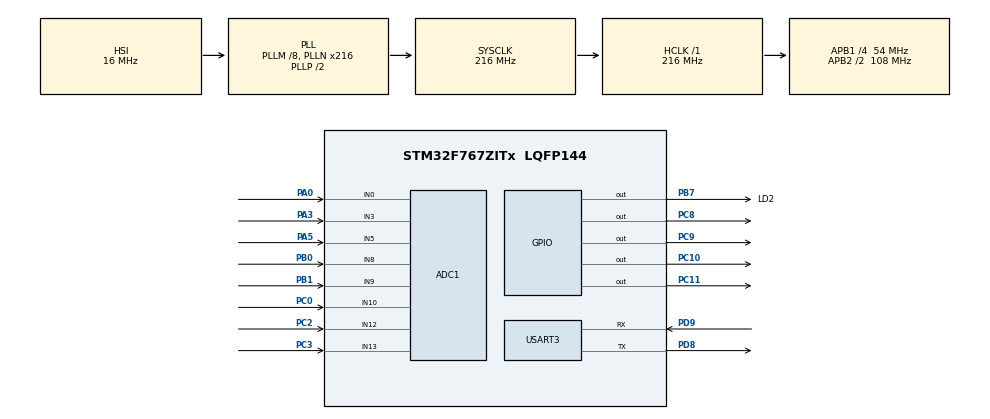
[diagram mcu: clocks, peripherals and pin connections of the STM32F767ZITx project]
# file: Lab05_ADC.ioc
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ADC1.Channel-0\#ChannelRegularConversion=ADC_CHANNEL_0
ADC1.Channel-1\#ChannelRegularConversion=ADC_CHANNEL_8
ADC1.Channel-2\#ChannelRegularConversion=ADC_CHANNEL_10
ADC1.Channel-3\#ChannelRegularConversion=ADC_CHANNEL_13
ADC1.Channel-4\#ChannelRegularConversion=ADC_CHANNEL_3
ADC1.Channel-5\#ChannelRegularConversion=ADC_CHANNEL_5
ADC1.Channel-6\#ChannelRegularConversion=ADC_CHANNEL_9
ADC1.Channel-7\#ChannelRegularConversion=ADC_CHANNEL_12
ADC1.ClockPrescaler=ADC_CLOCK_SYNC_PCLK_DIV8
ADC1.ContinuousConvMode=ENABLE
ADC1.DMAContinuousRequests=ENABLE
ADC1.InjNumberOfConversion=0
ADC1.NbrOfConversion=8
ADC1.NbrOfConversionFlag=1
ADC1.Rank-0\#ChannelRegularConversion=1
ADC1.Rank-1\#ChannelRegularConversion=2
ADC1.Rank-2\#ChannelRegularConversion=3
ADC1.Rank-3\#ChannelRegularConversion=4
ADC1.Rank-4\#ChannelRegularConversion=5
ADC1.Rank-5\#ChannelRegularConversion=6
ADC1.Rank-6\#ChannelRegularConversion=7
ADC1.Rank-7\#ChannelRegularConversion=8
ADC1.SamplingTime-0\#ChannelRegularConversion=ADC_SAMPLETIME_480CYCLES
ADC1.SamplingTime-1\#ChannelRegularConversion=ADC_SAMPLETIME_480CYCLES
ADC1.SamplingTime-2\#ChannelRegularConversion=ADC_SAMPLETIME_480CYCLES
ADC1.SamplingTime-3\#ChannelRegularConversion=ADC_SAMPLETIME_480CYCLES
ADC1.SamplingTime-4\#ChannelRegularConversion=ADC_SAMPLETIME_480CYCLES
ADC1.SamplingTime-5\#ChannelRegularConversion=ADC_SAMPLETIME_480CYCLES
ADC1.SamplingTime-6\#ChannelRegularConversion=ADC_SAMPLETIME_480CYCLES
ADC1.SamplingTime-7\#ChannelRegularConversion=ADC_SAMPLETIME_480CYCLES
ADC1.ScanConvMode=ADC_SCAN_ENABLE
ADC1.master=1
Dma.ADC1.0.Direction=DMA_PERIPH_TO_MEMORY
Dma.ADC1.0.FIFOMode=DMA_FIFOMODE_DISABLE
Dma.ADC1.0.Instance=DMA2_Stream0
Dma.ADC1.0.MemDataAlignment=DMA_MDATAALIGN_WORD
Dma.ADC1.0.MemInc=DMA_MINC_ENABLE
Dma.ADC1.0.Mode=DMA_CIRCULAR
Dma.ADC1.0.PeriphDataAlignment=DMA_PDATAALIGN_WORD
Dma.ADC1.0.PeriphInc=DMA_PINC_DISABLE
Dma.ADC1.0.Priority=DMA_PRIORITY_LOW
Dma.Request0=ADC1
Mcu.Family=STM32F7
Mcu.Name=STM32F767ZITx
Mcu.Package=LQFP144
NVIC.DMA2_Stream0_IRQn=true\:2\:0\:true\:false\:true\:false\:true
NVIC.PriorityGroup=NVIC_PRIORITYGROUP_2
PA0/WKUP.Signal=ADCx_IN0
PA3.Signal=ADCx_IN3
PA5.Signal=ADCx_IN5
PB0.Signal=ADCx_IN8
PB1.Signal=ADCx_IN9
PB7.GPIO_Label=LD2
PB7.Signal=GPIO_Output
PC0.Signal=ADCx_IN10
PC10.GPIO_ModeDefaultOutputPP=GPIO_MODE_OUTPUT_OD
PC10.PinState=GPIO_PIN_SET
PC10.Signal=GPIO_Output
PC11.GPIO_ModeDefaultOutputPP=GPIO_MODE_OUTPUT_OD
PC11.PinState=GPIO_PIN_SET
PC11.Signal=GPIO_Output
PC2.Signal=ADCx_IN12
PC3.Signal=ADCx_IN13
PC8.GPIO_ModeDefaultOutputPP=GPIO_MODE_OUTPUT_OD
PC8.PinState=GPIO_PIN_SET
PC8.Signal=GPIO_Output
PC9.GPIO_ModeDefaultOutputPP=GPIO_MODE_OUTPUT_OD
PC9.PinState=GPIO_PIN_SET
PC9.Signal=GPIO_Output
PD8.Mode=Asynchronous
PD8.Signal=USART3_TX
PD9.Mode=Asynchronous
PD9.Signal=USART3_RX
ProjectManager.HeapSize=0x200
ProjectManager.StackSize=0x400
ProjectManager.TargetToolchain=MDK-ARM V5.27
RCC.AHBFreq_Value=216000000
RCC.APB1CLKDivider=RCC_HCLK_DIV4
RCC.APB1Freq_Value=54000000
RCC.APB1TimFreq_Value=108000000
RCC.APB2CLKDivider=RCC_HCLK_DIV2
RCC.APB2Freq_Value=108000000
RCC.APB2TimFreq_Value=216000000
RCC.CortexFreq_Value=216000000
RCC.HCLKFreq_Value=216000000
RCC.HSE_VALUE=25000000
RCC.HSI_VALUE=16000000
RCC.LSE_VALUE=32768
RCC.PLLM=8
RCC.PLLN=216
RCC.SYSCLKFreq_VALUE=216000000
RCC.SYSCLKSource=RCC_SYSCLKSOURCE_PLLCLK
RCC.USBFreq_Value=216000000
RCC.VCOOutputFreq_Value=432000000
SH.ADCx_IN0.0=ADC1_IN0,IN0
SH.ADCx_IN10.0=ADC1_IN10,IN10
SH.ADCx_IN12.0=ADC1_IN12,IN12
SH.ADCx_IN13.0=ADC1_IN13,IN13
SH.ADCx_IN3.0=ADC1_IN3,IN3
SH.ADCx_IN5.0=ADC1_IN5,IN5
SH.ADCx_IN8.0=ADC1_IN8,IN8
SH.ADCx_IN9.0=ADC1_IN9,IN9
USART3.VirtualMode-Asynchronous=VM_ASYNC
board=custom

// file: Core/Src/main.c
/* USER CODE BEGIN Header */
/**
  ******************************************************************************
  * @file           : main.c
  * @brief          : Main program body
  ******************************************************************************
  * @attention
  *
  * <h2><center>&copy; Copyright (c) 2020 STMicroelectronics.
  * All rights reserved.</center></h2>
  *
  * This software component is licensed by ST under BSD 3-Clause license,
  * the "License"; You may not use this file except in compliance with the
  * License. You may obtain a copy of the License at:
  *                        opensource.org/licenses/BSD-3-Clause
  *
  ******************************************************************************
  */
/* USER CODE END Header */
#include "main.h"
#include "adc.h"
#include "dma.h"
#include "usart.h"
#include "gpio.h"

/* USER CODE BEGIN Includes */
#include <stdio.h>
/* USER CODE END Includes */

/* USER CODE BEGIN PD */

/* --------------------- Change question to compile here ---------------------*/
/* ---------------------- Available question 1, 3, 4 and 5 ----------------------*/
#define QUESTION 5

/* USER CODE END PD */

void SystemClock_Config(void);
/* USER CODE BEGIN PFP */
void displayHEX(uint32_t num) {
	char tmp[15];
	sprintf(tmp, "0x%08X", num);
	HAL_UART_Transmit(&huart3, (unsigned char*) tmp, 10, 100);
}
/* USER CODE END PFP */

/* USER CODE BEGIN 0 */

void HAL_ADC_ConvCpltCallback(ADC_HandleTypeDef* hadc)
{
  HAL_GPIO_WritePin(LD2_GPIO_Port, LD2_Pin, GPIO_PIN_RESET);
}

void HAL_ADC_ConvHalfCpltCallback(ADC_HandleTypeDef* hadc)
{
  HAL_GPIO_WritePin(LD2_GPIO_Port, LD2_Pin, GPIO_PIN_SET);
}

#if QUESTION == 5
  volatile uint32_t adc_val[8000];
#endif
/* USER CODE END 0 */

int main(void)
{

  /* MCU Configuration--------------------------------------------------------*/

  /* Reset of all peripherals, Initializes the Flash interface and the Systick. */
  HAL_Init();

  /* Configure the system clock */
  SystemClock_Config();

  /* Initialize all configured peripherals */
  MX_GPIO_Init();
  MX_DMA_Init();
  MX_ADC1_Init();
  MX_USART3_UART_Init();
  /* USER CODE BEGIN 2 */
HAL_UART_Transmit(&huart3, (unsigned char*)"START\r\n\r\n", 9, 100);
  /* USER CODE END 2 */

  /* Infinite loop */
  /* USER CODE BEGIN WHILE */
#if QUESTION == 1 || QUESTION == 3 || QUESTION == 4
  volatile uint32_t adc_val = 0;
  HAL_ADC_Start(&hadc1);
#elif QUESTION == 5
  HAL_ADC_Start_DMA(&hadc1, (uint32_t *)adc_val, 8000);
#endif
  while (1)
  {
#if QUESTION == 1
	  uint32_t hex1 = 501;
	  displayHEX(hex1);
	  HAL_Delay(500);
#elif QUESTION == 3 || QUESTION == 4
	  while (HAL_ADC_PollForConversion(&hadc1, 100) != HAL_OK);
	  adc_val = HAL_ADC_GetValue(&hadc1);

	  HAL_UART_Transmit(&huart3, (unsigned char*)"ADC1_CH10 ", 10, 100);
	  displayHEX(adc_val);
	  HAL_UART_Transmit(&huart3, (unsigned char*)" Vin = ", 7, 100);
	  char tmp[10];
	  int a = sprintf(tmp, "%.2f", adc_val * 3.33 / 0x1000);
	  HAL_UART_Transmit(&huart3, (unsigned char*)tmp, a, 100);
	  HAL_UART_Transmit(&huart3, (unsigned char*)"V\r\n", 3, 100);

	#if QUESTION == 4
	  switch(adc_val / ( 0x1000 / 5)) {
	  case 0: HAL_GPIO_WritePin(GPIOC, GPIO_PIN_8 | GPIO_PIN_9 | GPIO_PIN_10 | GPIO_PIN_11, GPIO_PIN_SET); break;
	  case 1: HAL_GPIO_WritePin(GPIOC, 				GPIO_PIN_9 | GPIO_PIN_10 | GPIO_PIN_11, GPIO_PIN_SET);
	  	  	  HAL_GPIO_WritePin(GPIOC, GPIO_PIN_8										  , GPIO_PIN_RESET);break;
	  case 2: HAL_GPIO_WritePin(GPIOC, 							 GPIO_PIN_10 | GPIO_PIN_11, GPIO_PIN_SET);
	  	  	  HAL_GPIO_WritePin(GPIOC, GPIO_PIN_8 | GPIO_PIN_9							  , GPIO_PIN_RESET);break;
	  case 3: HAL_GPIO_WritePin(GPIOC, 										   GPIO_PIN_11, GPIO_PIN_SET);
	  	  	  HAL_GPIO_WritePin(GPIOC, GPIO_PIN_8 | GPIO_PIN_9 | GPIO_PIN_10			  , GPIO_PIN_RESET);break;
	  case 4:
	  case 5: HAL_GPIO_WritePin(GPIOC, GPIO_PIN_8 | GPIO_PIN_9 | GPIO_PIN_10 | GPIO_PIN_11, GPIO_PIN_RESET); break;
	  }
	#endif
	  HAL_Delay(400);
#elif QUESTION == 5
		for (int i = 0; i < 8; i++) {
			char tmp[15];
			int len = sprintf(tmp, "0x%03X  ", adc_val[i]);
			HAL_UART_Transmit(&huart3, (unsigned char*) tmp, len, 100);
		}
		HAL_Delay(300);
		HAL_UART_Transmit(&huart3, (unsigned char*)"\r\n", 2, 100);
#endif
    /* USER CODE END WHILE */

  }
}

void SystemClock_Config(void)
{
  RCC_OscInitTypeDef RCC_OscInitStruct = {0};
  RCC_ClkInitTypeDef RCC_ClkInitStruct = {0};
  RCC_PeriphCLKInitTypeDef PeriphClkInitStruct = {0};

  /** Configure the main internal regulator output voltage
  */
  __HAL_RCC_PWR_CLK_ENABLE();
  __HAL_PWR_VOLTAGESCALING_CONFIG(PWR_REGULATOR_VOLTAGE_SCALE1);
  /** Initializes the RCC Oscillators according to the specified parameters
  * in the RCC_OscInitTypeDef structure.
  */
  RCC_OscInitStruct.OscillatorType = RCC_OSCILLATORTYPE_HSI;
  RCC_OscInitStruct.HSIState = RCC_HSI_ON;
  RCC_OscInitStruct.HSICalibrationValue = RCC_HSICALIBRATION_DEFAULT;
  RCC_OscInitStruct.PLL.PLLState = RCC_PLL_ON;
  RCC_OscInitStruct.PLL.PLLSource = RCC_PLLSOURCE_HSI;
  RCC_OscInitStruct.PLL.PLLM = 8;
  RCC_OscInitStruct.PLL.PLLN = 216;
  RCC_OscInitStruct.PLL.PLLP = RCC_PLLP_DIV2;
  RCC_OscInitStruct.PLL.PLLQ = 2;
  if (HAL_RCC_OscConfig(&RCC_OscInitStruct) != HAL_OK)
  {
    Error_Handler();
  }
  /** Activate the Over-Drive mode
  */
  if (HAL_PWREx_EnableOverDrive() != HAL_OK)
  {
    Error_Handler();
  }
  /** Initializes the CPU, AHB and APB buses clocks
  */
  RCC_ClkInitStruct.ClockType = RCC_CLOCKTYPE_HCLK|RCC_CLOCKTYPE_SYSCLK
                              |RCC_CLOCKTYPE_PCLK1|RCC_CLOCKTYPE_PCLK2;
  RCC_ClkInitStruct.SYSCLKSource = RCC_SYSCLKSOURCE_PLLCLK;
  RCC_ClkInitStruct.AHBCLKDivider = RCC_SYSCLK_DIV1;
  RCC_ClkInitStruct.APB1CLKDivider = RCC_HCLK_DIV4;
  RCC_ClkInitStruct.APB2CLKDivider = RCC_HCLK_DIV2;

  if (HAL_RCC_ClockConfig(&RCC_ClkInitStruct, FLASH_LATENCY_7) != HAL_OK)
  {
    Error_Handler();
  }
  PeriphClkInitStruct.PeriphClockSelection = RCC_PERIPHCLK_USART3;
  PeriphClkInitStruct.Usart3ClockSelection = RCC_USART3CLKSOURCE_PCLK1;
  if (HAL_RCCEx_PeriphCLKConfig(&PeriphClkInitStruct) != HAL_OK)
  {
    Error_Handler();
  }
}

void Error_Handler(void)
{
}

/************************ (C) COPYRIGHT STMicroelectronics *****END OF FILE****/
